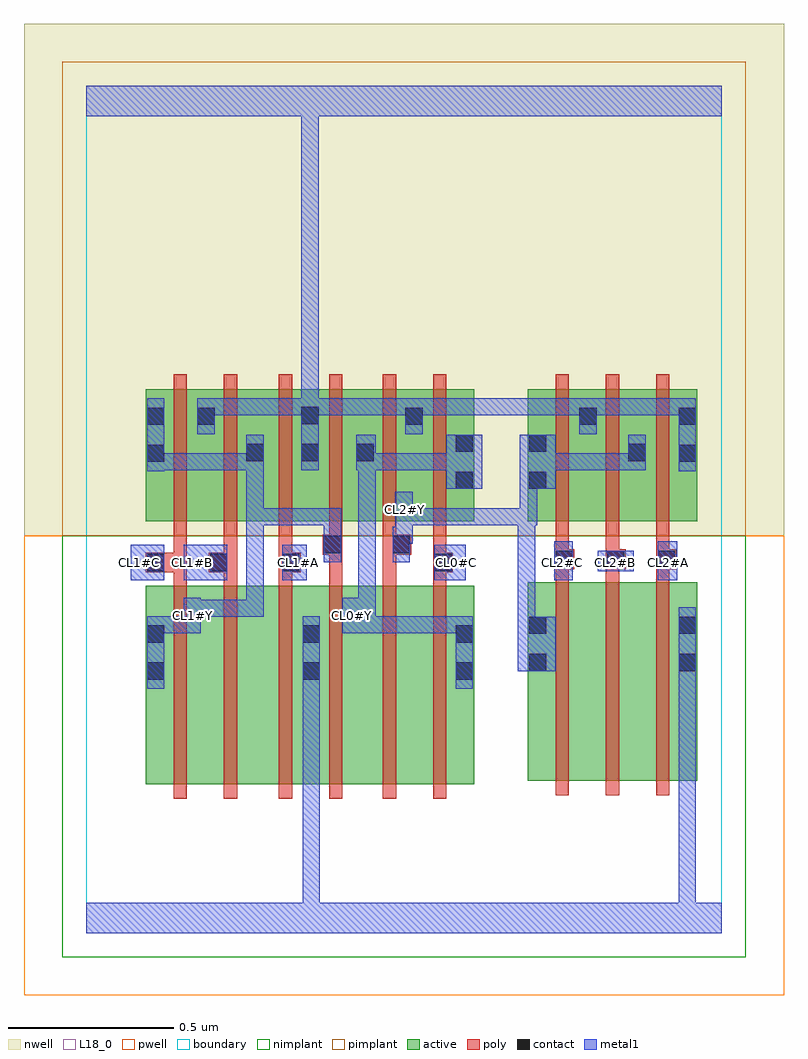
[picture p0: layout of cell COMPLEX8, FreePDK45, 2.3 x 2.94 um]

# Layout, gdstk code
import gdstk
lib = gdstk.Library(unit=1e-6, precision=1e-09)
def R(c, l, rs):  # rectangles x0, y0, x1, y1
    for r in rs: c.add(gdstk.rectangle(r[:2], r[2:], *l))
def A(c, l, x, y, w, h, nx, ny, dx, dy):  # array of equal rectangles
    R(c, l, [(x+i*dx, y+j*dy, x+i*dx+w, y+j*dy+h) for i in range(nx) for j in range(ny)])
active = (1, 0)
pwell = (2, 0)
nwell = (3, 0)
nimplant = (4, 0)
pimplant = (5, 0)
poly = (9, 0)
contact = (10, 0)
metal1 = (11, 0)
L18_0 = (18, 0)
boundary = (235, 0)

complex8 = lib.new_cell('COMPLEX8')
A(complex8, active, 0.48, 1.244, 0.06, 0.4, 3, 1, 0.166, 0)
R(complex8, active, [(0.18,0.45,0.36,1.05), (0.36,0.45,0.512,1.05), (0.512,0.45,0.71,1.05), (0.65,0.45,0.83,1.05), (0.83,0.45,0.992,1.05), (0.992,0.45,1.172,1.05), (1.334,0.46,1.394,1.06), (1.334,0.46,1.514,1.06), (1.514,0.46,1.666,1.06), (1.666,0.46,1.846,1.06), (1.786,0.46,1.846,1.06), (0.18,0.556,0.24,1.05), (0.65,0.556,0.71,1.05), (1.112,0.556,1.172,1.05), (0.18,1.244,0.24,1.644), (0.18,1.244,0.392,1.644), (0.332,1.244,0.392,1.644), (0.332,1.244,0.54,1.644), (0.48,1.244,0.706,1.644), (0.646,1.244,0.872,1.644), (0.812,1.244,1.02,1.644), (0.96,1.244,1.02,1.644), (0.96,1.244,1.172,1.644), (1.112,1.244,1.172,1.644), (1.334,1.244,1.394,1.644), (1.334,1.244,1.546,1.644), (1.486,1.244,1.546,1.644), (1.486,1.244,1.694,1.644), (1.634,1.244,1.694,1.644), (1.634,1.244,1.846,1.644), (1.786,1.244,1.846,1.644)])
R(complex8, pwell, [(-0.188,-0.188,2.108,1.2)])
R(complex8, nwell, [(-0.188,1.2,2.108,2.748)])
R(complex8, nimplant, [(-0.072,-0.072,1.992,1.2)])
R(complex8, pimplant, [(-0.072,1.2,1.992,2.632)])
A(complex8, poly, 1.418, 0.416, 0.04, 0.688, 3, 1, 0.152, 0)
A(complex8, poly, 1.418, 1.064, 0.04, 0.076, 3, 1, 0.152, 0)
A(complex8, poly, 1.418, 1.12, 0.04, 0.12, 3, 1, 0.152, 0)
A(complex8, poly, 1.418, 1.2, 0.04, 0.488, 3, 1, 0.152, 0)
R(complex8, poly, [(0.264,0.406,0.304,1.094), (0.416,0.406,0.456,1.094), (0.582,0.406,0.622,1.094), (0.734,0.406,0.774,1.094), (0.896,0.406,0.936,1.094), (1.048,0.406,1.088,1.094), (0.264,1.054,0.304,1.13), (0.416,1.054,0.456,1.13), (0.582,1.054,0.622,1.13), (0.734,1.054,0.774,1.184), (0.896,1.054,0.936,1.184), (1.048,1.054,1.088,1.13), (0.18,1.09,0.304,1.15), (0.37,1.09,0.456,1.15), (0.416,1.09,0.456,1.13), (0.416,1.09,0.456,1.13), (0.582,1.09,0.648,1.15), (1.048,1.09,1.108,1.15), (1.414,1.1,1.474,1.16), (1.57,1.1,1.63,1.16), (1.722,1.1,1.762,1.14), (1.722,1.1,1.762,1.14), (1.722,1.1,1.782,1.16), (0.264,1.11,0.304,1.15), (0.264,1.11,0.304,1.15), (0.264,1.11,0.304,1.24), (0.416,1.11,0.456,1.24), (0.582,1.11,0.622,1.15), (0.582,1.11,0.622,1.15), (0.582,1.11,0.622,1.24), (1.048,1.11,1.088,1.15), (1.048,1.11,1.088,1.15), (1.048,1.11,1.088,1.24), (1.418,1.12,1.458,1.16), (1.418,1.12,1.458,1.16), (1.57,1.12,1.61,1.16), (1.57,1.12,1.61,1.16), (0.714,1.144,0.774,1.204), (0.734,1.144,0.774,1.184), (0.734,1.144,0.774,1.184), (0.896,1.144,0.936,1.184), (0.896,1.144,0.936,1.184), (0.896,1.144,0.982,1.204), (0.734,1.164,0.774,1.24), (0.896,1.164,0.936,1.24), (0.264,1.2,0.304,1.688), (0.416,1.2,0.456,1.688), (0.582,1.2,0.622,1.688), (0.734,1.2,0.774,1.688), (0.896,1.2,0.936,1.688), (1.048,1.2,1.088,1.688)])
A(complex8, contact, 0.484, 1.426, 0.052, 0.052, 3, 1, 0.166, 0)
R(complex8, contact, [(0.184,0.766,0.236,0.818), (0.654,0.766,0.706,0.818), (1.116,0.766,1.168,0.818), (1.338,0.792,1.39,0.844), (1.79,0.792,1.842,0.844), (0.184,0.878,0.236,0.93), (0.654,0.878,0.706,0.93), (1.116,0.878,1.168,0.93), (1.338,0.904,1.39,0.956), (1.79,0.904,1.842,0.956), (0.184,1.094,0.236,1.146), (0.374,1.094,0.426,1.146), (0.592,1.094,0.644,1.146), (1.052,1.094,1.104,1.146), (1.418,1.104,1.47,1.156), (1.574,1.104,1.626,1.156), (1.726,1.104,1.778,1.156), (0.718,1.148,0.77,1.2), (0.926,1.148,0.978,1.2), (1.116,1.342,1.168,1.394), (1.338,1.342,1.39,1.394), (0.184,1.424,0.236,1.476), (1.79,1.424,1.842,1.476), (1.638,1.426,1.69,1.478), (1.116,1.454,1.168,1.506), (1.338,1.454,1.39,1.506), (0.184,1.536,0.236,1.588), (0.336,1.536,0.388,1.588), (0.964,1.536,1.016,1.588), (1.49,1.536,1.542,1.588), (1.79,1.536,1.842,1.588), (0.65,1.538,0.702,1.59)])
R(complex8, metal1, [(0,0,1.92,0.092), (0.654,0.04,0.706,0.092), (0.654,0.04,0.706,0.092), (0.654,0.04,0.706,0.092), (0.654,0.04,0.706,0.092), (0.654,0.04,0.706,0.092), (0.654,0.04,0.706,0.092), (0.654,0.04,0.706,0.092), (0.654,0.04,0.706,0.092), (0.654,0.04,0.706,0.79), (1.79,0.04,1.842,0.816), (0.184,0.738,0.236,0.958), (0.654,0.738,0.706,0.958), (1.116,0.738,1.168,0.958), (1.79,0.764,1.842,0.816), (1.79,0.764,1.842,0.816), (1.79,0.764,1.842,0.816), (1.79,0.764,1.842,0.816), (1.79,0.764,1.842,0.816), (1.79,0.764,1.842,0.816), (1.79,0.764,1.842,0.816), (1.79,0.764,1.842,0.816), (1.79,0.764,1.842,0.984), (1.304,0.792,1.418,0.956), (1.304,0.904,1.356,1.284), (0.184,0.906,0.236,0.958), (0.184,0.906,0.236,0.958), (0.184,0.906,0.346,0.958), (0.294,0.906,0.346,0.958), (0.294,0.906,0.346,0.958), (0.294,0.906,0.346,1.014), (0.774,0.906,0.874,1.014), (0.822,0.906,0.994,0.958), (0.942,0.906,0.994,0.958), (0.942,0.906,0.994,0.958), (0.942,0.906,0.994,0.958), (0.942,0.906,0.994,0.958), (0.942,0.906,0.994,0.958), (0.942,0.906,1.168,0.958), (1.116,0.906,1.168,0.958), (1.116,0.906,1.168,0.958), (0.294,0.956,0.346,1.008), (0.294,0.956,0.346,1.008), (0.294,0.956,0.536,1.008), (0.484,0.956,0.536,1.008), (0.484,0.956,0.536,1.284), (0.822,0.962,0.874,1.45), (0.134,1.066,0.236,1.174), (0.294,1.066,0.426,1.174), (0.592,1.066,0.666,1.174), (1.052,1.066,1.146,1.174), (1.414,1.066,1.47,1.184), (1.726,1.066,1.786,1.184), (1.546,1.094,1.654,1.156), (0.718,1.12,0.77,1.284), (0.926,1.12,0.978,1.228), (0.926,1.176,0.986,1.228), (0.934,1.176,0.986,1.334), (0.484,1.232,0.536,1.284), (0.484,1.232,0.646,1.284), (0.484,1.232,0.536,1.45), (0.594,1.232,0.646,1.284), (0.594,1.232,0.646,1.284), (0.594,1.232,0.646,1.284), (0.594,1.232,0.77,1.284), (0.934,1.232,1.236,1.284), (1.184,1.232,1.236,1.284), (1.184,1.232,1.236,1.284), (1.184,1.232,1.236,1.284), (1.184,1.232,1.356,1.284), (1.304,1.232,1.356,1.284), (1.304,1.232,1.356,1.284), (1.304,1.232,1.362,1.284), (1.31,1.232,1.362,1.394), (1.088,1.342,1.196,1.506), (1.31,1.342,1.418,1.506), (0.184,1.396,0.236,1.616), (1.79,1.396,1.842,1.616), (0.184,1.398,0.236,1.45), (0.184,1.398,0.236,1.45), (0.184,1.398,0.426,1.45), (0.374,1.398,0.426,1.45), (0.374,1.398,0.426,1.45), (0.374,1.398,0.426,1.45), (0.374,1.398,0.536,1.45), (0.484,1.398,0.536,1.506), (0.65,1.398,0.702,1.618), (0.816,1.398,0.874,1.506), (0.822,1.398,0.874,1.45), (0.822,1.398,0.874,1.45), (0.822,1.398,0.984,1.45), (0.932,1.398,0.984,1.45), (0.932,1.398,0.984,1.45), (0.932,1.398,0.984,1.45), (0.932,1.398,1.14,1.45), (1.088,1.398,1.14,1.45), (1.088,1.398,1.14,1.45), (1.366,1.398,1.418,1.45), (1.366,1.398,1.418,1.45), (1.366,1.398,1.558,1.45), (1.506,1.398,1.558,1.45), (1.506,1.398,1.558,1.45), (1.506,1.398,1.558,1.45), (1.506,1.398,1.69,1.45), (1.638,1.398,1.69,1.506), (0.336,1.508,0.388,1.616), (0.964,1.508,1.016,1.616), (1.49,1.508,1.542,1.616), (0.336,1.564,0.388,1.616), (0.336,1.564,0.388,1.616), (0.336,1.564,0.536,1.616), (0.484,1.564,0.536,1.616), (0.484,1.564,0.536,1.616), (0.484,1.564,0.536,1.616), (0.484,1.564,0.702,1.616), (0.65,1.564,0.812,1.616), (0.76,1.564,0.812,1.616), (0.76,1.564,0.812,1.616), (0.76,1.564,0.812,1.616), (0.76,1.564,0.994,1.616), (0.942,1.564,0.994,1.616), (0.942,1.564,1.016,1.616), (0.964,1.564,1.126,1.616), (1.074,1.564,1.126,1.616), (1.074,1.564,1.126,1.616), (1.074,1.564,1.126,1.616), (1.074,1.564,1.356,1.616), (1.304,1.564,1.356,1.616), (1.304,1.564,1.356,1.616), (1.304,1.564,1.356,1.616), (1.304,1.564,1.542,1.616), (1.49,1.564,1.668,1.616), (1.616,1.564,1.668,1.616), (1.616,1.564,1.668,1.616), (1.616,1.564,1.668,1.616), (1.616,1.564,1.842,1.616), (1.79,1.564,1.842,1.616), (1.79,1.564,1.842,1.616), (0.65,1.566,0.702,1.618), (0.65,1.566,0.702,1.618), (0.65,1.566,0.702,1.618), (0.65,1.566,0.702,1.618), (0.65,1.566,0.702,1.618), (0.65,1.566,0.702,1.618), (0.65,1.566,0.702,1.618), (0.65,1.566,0.702,1.618), (0.65,1.566,0.702,1.618), (0.65,1.566,0.702,1.618), (0.65,1.566,0.702,1.618), (0.65,1.566,0.702,1.618), (0.65,1.566,0.702,1.618), (0.65,1.566,0.702,1.618), (0.65,1.566,0.702,2.52), (0,2.468,1.92,2.56), (0.65,2.468,0.702,2.52), (0.65,2.468,0.702,2.52)])
A(complex8, L18_0, 1.414, 1.094, 0.052, 0.052, 3, 1, 0.16, 0)
R(complex8, L18_0, [(0,0,1.92,0.092), (0.654,0.04,0.706,0.092), (0.654,0.04,0.706,0.092), (0.654,0.04,0.706,0.092), (0.654,0.04,0.706,0.092), (0.654,0.04,0.706,0.092), (0.654,0.04,0.706,0.092), (0.654,0.04,0.706,0.092), (0.654,0.04,0.706,0.092), (0.654,0.04,0.706,0.79), (1.79,0.04,1.842,0.816), (0.184,0.738,0.236,0.958), (0.654,0.738,0.706,0.958), (1.116,0.738,1.168,0.958), (1.79,0.764,1.842,0.984), (1.79,0.764,1.842,0.816), (1.79,0.764,1.842,0.816), (1.79,0.764,1.842,0.816), (1.79,0.764,1.842,0.816), (1.79,0.764,1.842,0.816), (1.79,0.764,1.842,0.816), (1.79,0.764,1.842,0.816), (1.79,0.764,1.842,0.816), (1.304,0.792,1.418,0.956), (1.304,0.904,1.356,1.284), (0.184,0.906,0.236,0.958), (0.184,0.906,0.236,0.958), (0.184,0.906,0.346,0.958), (0.294,0.906,0.346,0.958), (0.294,0.906,0.346,0.958), (0.294,0.906,0.346,1.014), (0.774,0.906,0.874,1.014), (0.822,0.906,0.994,0.958), (0.942,0.906,0.994,0.958), (0.942,0.906,0.994,0.958), (0.942,0.906,0.994,0.958), (0.942,0.906,0.994,0.958), (0.942,0.906,0.994,0.958), (0.942,0.906,1.168,0.958), (1.116,0.906,1.168,0.958), (1.116,0.906,1.168,0.958), (0.294,0.934,0.346,0.986), (0.774,0.934,0.826,0.986), (0.294,0.956,0.346,1.008), (0.294,0.956,0.346,1.008), (0.294,0.956,0.536,1.008), (0.484,0.956,0.536,1.008), (0.484,0.956,0.536,1.284), (0.822,0.962,0.874,1.45), (0.134,1.066,0.236,1.174), (0.294,1.066,0.426,1.174), (0.592,1.066,0.666,1.174), (1.052,1.066,1.146,1.174), (1.414,1.066,1.47,1.184), (1.726,1.066,1.786,1.184), (0.134,1.094,0.186,1.146), (0.294,1.094,0.346,1.146), (0.614,1.094,0.666,1.146), (1.094,1.094,1.146,1.146), (1.546,1.094,1.654,1.156), (0.718,1.12,0.77,1.284), (0.926,1.12,0.978,1.228), (0.926,1.176,0.986,1.228), (0.934,1.176,0.986,1.334), (0.484,1.232,0.536,1.284), (0.484,1.232,0.646,1.284), (0.484,1.232,0.536,1.45), (0.594,1.232,0.646,1.284), (0.594,1.232,0.646,1.284), (0.594,1.232,0.646,1.284), (0.594,1.232,0.77,1.284), (0.934,1.232,1.236,1.284), (1.184,1.232,1.236,1.284), (1.184,1.232,1.236,1.284), (1.184,1.232,1.236,1.284), (1.184,1.232,1.356,1.284), (1.304,1.232,1.356,1.284), (1.304,1.232,1.356,1.284), (1.304,1.232,1.362,1.284), (1.31,1.232,1.362,1.394), (0.934,1.254,0.986,1.306), (1.088,1.342,1.196,1.506), (1.31,1.342,1.418,1.506), (0.184,1.396,0.236,1.616), (1.79,1.396,1.842,1.616), (0.184,1.398,0.236,1.45), (0.184,1.398,0.236,1.45), (0.184,1.398,0.426,1.45), (0.374,1.398,0.426,1.45), (0.374,1.398,0.426,1.45), (0.374,1.398,0.426,1.45), (0.374,1.398,0.536,1.45), (0.484,1.398,0.536,1.506), (0.65,1.398,0.702,1.618), (0.816,1.398,0.874,1.506), (0.822,1.398,0.874,1.45), (0.822,1.398,0.874,1.45), (0.822,1.398,0.984,1.45), (0.932,1.398,0.984,1.45), (0.932,1.398,0.984,1.45), (0.932,1.398,0.984,1.45), (0.932,1.398,1.14,1.45), (1.088,1.398,1.14,1.45), (1.088,1.398,1.14,1.45), (1.366,1.398,1.418,1.45), (1.366,1.398,1.418,1.45), (1.366,1.398,1.558,1.45), (1.506,1.398,1.558,1.45), (1.506,1.398,1.558,1.45), (1.506,1.398,1.558,1.45), (1.506,1.398,1.69,1.45), (1.638,1.398,1.69,1.506), (0.336,1.508,0.388,1.616), (0.964,1.508,1.016,1.616), (1.49,1.508,1.542,1.616), (0.336,1.564,0.388,1.616), (0.336,1.564,0.388,1.616), (0.336,1.564,0.536,1.616), (0.484,1.564,0.536,1.616), (0.484,1.564,0.536,1.616), (0.484,1.564,0.536,1.616), (0.484,1.564,0.702,1.616), (0.65,1.564,0.812,1.616), (0.76,1.564,0.812,1.616), (0.76,1.564,0.812,1.616), (0.76,1.564,0.812,1.616), (0.76,1.564,0.994,1.616), (0.942,1.564,0.994,1.616), (0.942,1.564,1.016,1.616), (0.964,1.564,1.126,1.616), (1.074,1.564,1.126,1.616), (1.074,1.564,1.126,1.616), (1.074,1.564,1.126,1.616), (1.074,1.564,1.356,1.616), (1.304,1.564,1.356,1.616), (1.304,1.564,1.356,1.616), (1.304,1.564,1.356,1.616), (1.304,1.564,1.542,1.616), (1.49,1.564,1.668,1.616), (1.616,1.564,1.668,1.616), (1.616,1.564,1.668,1.616), (1.616,1.564,1.668,1.616), (1.616,1.564,1.842,1.616), (1.79,1.564,1.842,1.616), (1.79,1.564,1.842,1.616), (0.65,1.566,0.702,1.618), (0.65,1.566,0.702,1.618), (0.65,1.566,0.702,1.618), (0.65,1.566,0.702,1.618), (0.65,1.566,0.702,1.618), (0.65,1.566,0.702,1.618), (0.65,1.566,0.702,1.618), (0.65,1.566,0.702,1.618), (0.65,1.566,0.702,1.618), (0.65,1.566,0.702,1.618), (0.65,1.566,0.702,1.618), (0.65,1.566,0.702,1.618), (0.65,1.566,0.702,1.618), (0.65,1.566,0.702,1.618), (0.65,1.566,0.702,2.52), (0,2.468,1.92,2.56), (0.65,2.468,0.702,2.52), (0.65,2.468,0.702,2.52)])
R(complex8, boundary, [(0,0,1.92,2.56)])
complex8.add(gdstk.Label('CL0#C', (1.12,1.12), layer=11, texttype=0))
complex8.add(gdstk.Label('CL0#Y', (0.8,0.96), layer=11, texttype=0))
complex8.add(gdstk.Label('CL1#A', (0.64,1.12), layer=11, texttype=0))
complex8.add(gdstk.Label('CL1#B', (0.32,1.12), layer=11, texttype=0))
complex8.add(gdstk.Label('CL1#C', (0.16,1.12), layer=11, texttype=0))
complex8.add(gdstk.Label('CL1#Y', (0.32,0.96), layer=11, texttype=0))
complex8.add(gdstk.Label('CL2#A', (1.76,1.12), layer=11, texttype=0))
complex8.add(gdstk.Label('CL2#B', (1.6,1.12), layer=11, texttype=0))
complex8.add(gdstk.Label('CL2#C', (1.44,1.12), layer=11, texttype=0))
complex8.add(gdstk.Label('CL2#Y', (0.96,1.28), layer=11, texttype=0))

lib.write_gds('COMPLEX8.gds')
